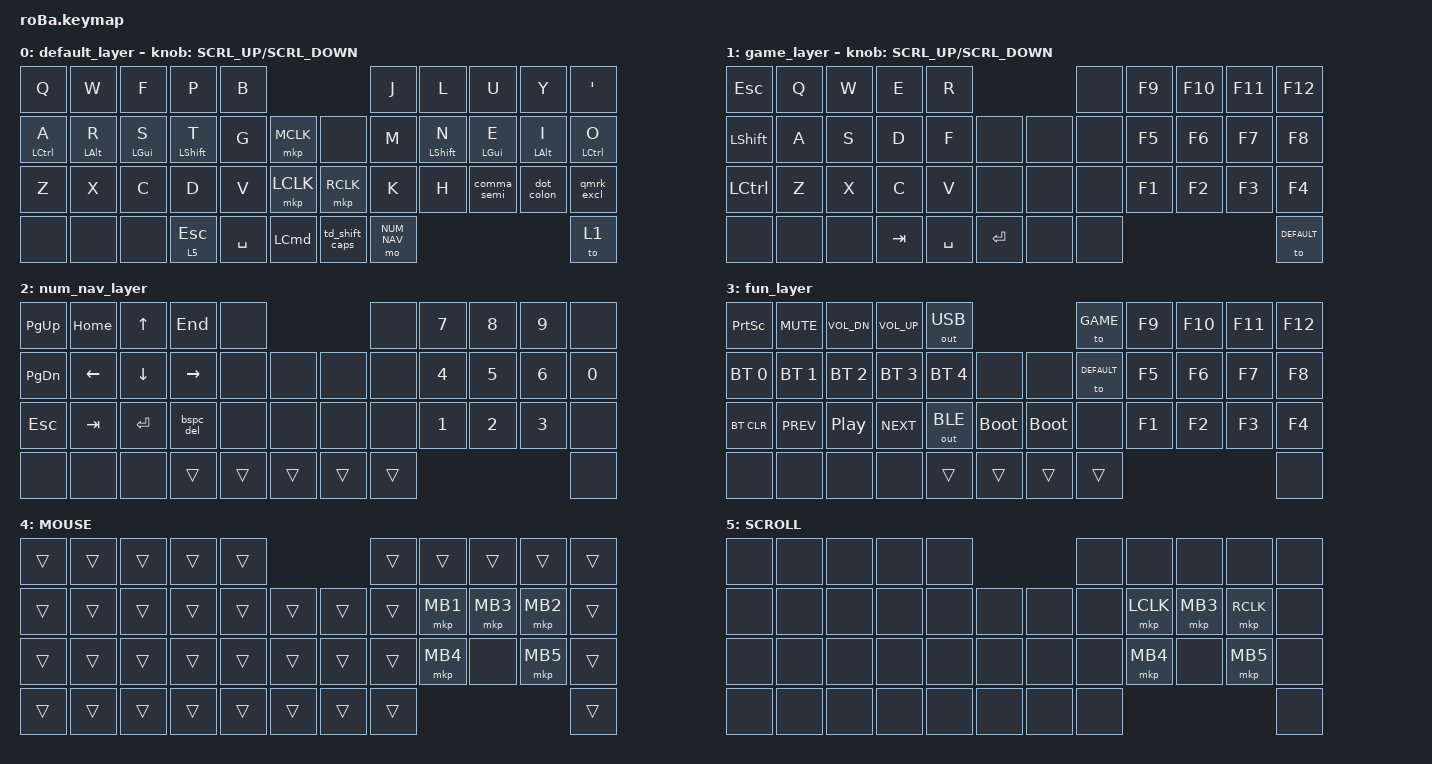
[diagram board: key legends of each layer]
#include <behaviors.dtsi>
#include <dt-bindings/zmk/bt.h>
#include <dt-bindings/zmk/keys.h>
#include <dt-bindings/zmk/outputs.h>
#include <dt-bindings/zmk/pointing.h>

#define KEYS_L 0 1 2 3 4 10 11 12 13 14 15 22 23 24 25 26 27
#define KEYS_R 5 6 7 8 9 16 17 18 19 20 21 28 29 30 31 32 33
#define THUMBS_L 34 35 36 37 38 39
#define THUMBS_R 40 41 42
#define DEFAULT 0
#define GAME 1
#define NUM_NAV 2
#define FUN 3
#define MOUSE 4
#define SCROLL 5
#define COMBO_TERM 30
#define TAPPING_TERM 280
#define QUICK_TAP_TERM 175
#define REQUIRE_PRIOR_IDLE 175

&mt {
    tapping-term-ms = <TAPPING_TERM>;
    flavor = "tap-preferred";
    quick-tap-ms = <QUICK_TAP_TERM>;
    require-prior-idle-ms = <REQUIRE_PRIOR_IDLE>;
};

&lt {
    tapping-term-ms = <TAPPING_TERM>;
    flavor = "tap-preferred";
    quick-tap-ms = <QUICK_TAP_TERM>;
};

/ {
    behaviors {
        hml: home_row_mod_left {
            compatible = "zmk,behavior-hold-tap";
            #binding-cells = <2>;
            flavor = "balanced";
            tapping-term-ms = <TAPPING_TERM>;
            quick-tap-ms = <QUICK_TAP_TERM>;
            require-prior-idle-ms = <REQUIRE_PRIOR_IDLE>;
            bindings = <&kp>, <&kp>;

            hold-trigger-key-positions = <KEYS_R THUMBS_R>;
            hold-trigger-on-release;
        };

        hmr: home_row_mod_right {
            compatible = "zmk,behavior-hold-tap";
            #binding-cells = <2>;
            flavor = "balanced";
            tapping-term-ms = <TAPPING_TERM>;
            quick-tap-ms = <QUICK_TAP_TERM>;
            require-prior-idle-ms = <REQUIRE_PRIOR_IDLE>;
            bindings = <&kp>, <&kp>;

            hold-trigger-key-positions = <KEYS_L THUMBS_L>;
            hold-trigger-on-release;
        };

        bspc_del: backspace_delete {
            compatible = "zmk,behavior-mod-morph";
            #binding-cells = <0>;
            bindings = <&kp BACKSPACE>, <&kp DELETE>;

            mods = <(MOD_LSFT|MOD_RSFT)>;
            keep-mods = <(MOD_RSFT)>;
        };

        td_shift_caps: tap_dance_shift_caps {
            compatible = "zmk,behavior-tap-dance";
            #binding-cells = <0>;
            tapping-term-ms = <200>;
            bindings = <&kp LEFT_SHIFT>, <&kp CAPSLOCK>;
        };

        lt_num_bspc_del: layer_tap_num_bspc_del {
            compatible = "zmk,behavior-hold-tap";
            #binding-cells = <2>;
            flavor = "tap-preferred";
            tapping-term-ms = <TAPPING_TERM>;
            quick-tap-ms = <QUICK_TAP_TERM>;
            bindings = <&mo>, <&bspc_del>;
        };

        rot_msc: sensor_rotate_mouse_scroll {
            compatible = "zmk,behavior-sensor-rotate-var";
            #sensor-binding-cells = <2>;
            bindings = <&msc>, <&msc>;
        };

        comma_semi: comma_semi {
            compatible = "zmk,behavior-mod-morph";
            #binding-cells = <0>;
            bindings = <&kp COMMA>, <&kp SEMI>;

            mods = <(MOD_LSFT)>;
        };

        dot_colon: dot_colon {
            compatible = "zmk,behavior-mod-morph";
            #binding-cells = <0>;
            bindings = <&kp DOT>, <&kp COLON>;

            mods = <(MOD_LSFT)>;
        };

        qmrk_excl: qmrk_excl {
            compatible = "zmk,behavior-mod-morph";
            #binding-cells = <0>;
            bindings = <&kp QMARK>, <&kp EXCL>;

            mods = <(MOD_LSFT)>;
        };

        slh_morph: slh_morph {
            compatible = "zmk,behavior-mod-morph";
            #binding-cells = <0>;
            bindings = <&kp FSLH>, <&kp BSLH>;

            mods = <(MOD_LSFT)>;
        };

        amps_morph: amps_morph {
            compatible = "zmk,behavior-mod-morph";
            #binding-cells = <0>;
            bindings = <&kp AMPS>, <&kp PIPE>;

            mods = <(MOD_LSFT)>;
        };
    };

    combos {
        compatible = "zmk,combos";

        tilde {
            bindings = <&kp TILDE>;
            key-positions = <0 10>;
            layers = <DEFAULT>;
        };

        at {
            bindings = <&kp AT_SIGN>;
            key-positions = <11 1>;
            layers = <DEFAULT>;
        };

        hash {
            bindings = <&kp HASH>;
            key-positions = <12 2>;
            layers = <DEFAULT>;
        };

        dollar {
            bindings = <&kp DOLLAR>;
            key-positions = <13 3>;
            layers = <DEFAULT>;
        };

        percent {
            bindings = <&kp PERCENT>;
            key-positions = <10 22>;
            layers = <DEFAULT>;
        };

        caret {
            bindings = <&kp CARET>;
            key-positions = <11 23>;
            layers = <DEFAULT>;
        };

        ampersand {
            bindings = <&amps_morph>;
            key-positions = <24 12>;
            layers = <DEFAULT>;
        };

        asterisk {
            bindings = <&kp ASTERISK>;
            key-positions = <13 25>;
            layers = <DEFAULT>;
        };

        lbracket {
            bindings = <&kp LEFT_BRACKET>;
            key-positions = <14 4>;
            layers = <DEFAULT>;
        };

        lparen {
            bindings = <&kp LEFT_PARENTHESIS>;
            key-positions = <26 14>;
            layers = <DEFAULT>;
        };

        rbracket {
            bindings = <&kp RIGHT_BRACKET>;
            key-positions = <17 5>;
            layers = <DEFAULT>;
        };

        rparen {
            bindings = <&kp RIGHT_PARENTHESIS>;
            key-positions = <29 17>;
            layers = <DEFAULT>;
        };

        grave {
            bindings = <&kp GRAVE>;
            key-positions = <21 33>;
            layers = <DEFAULT>;
        };

        less_than {
            bindings = <&kp LESS_THAN>;
            key-positions = <30 18>;
            layers = <DEFAULT>;
        };

        greater_than {
            bindings = <&kp GREATER_THAN>;
            key-positions = <32 20>;
            layers = <DEFAULT>;
        };

        slash_morph {
            bindings = <&slh_morph>;
            key-positions = <8 20>;
            layers = <DEFAULT>;
        };

        minus {
            bindings = <&kp MINUS>;
            key-positions = <18 6>;
            layers = <DEFAULT>;
        };

        underscore {
            bindings = <&kp UNDER>;
            key-positions = <19 7>;
            layers = <DEFAULT>;
        };

        equal {
            bindings = <&kp EQUAL>;
            key-positions = <31 19>;
            layers = <DEFAULT>;
        };

        plus {
            bindings = <&kp PLUS>;
            key-positions = <9 21>;
            layers = <DEFAULT>;
        };

        tab {
            bindings = <&kp TAB>;
            key-positions = <24 23>;
            layers = <DEFAULT>;
        };

        fun {
            bindings = <&mo 3>;
            key-positions = <41 40>;
            layers = <0 1>;
        };

        backspace {
            bindings = <&bspc_del>;
            key-positions = <32 31>;
            layers = <0>;
        };

        enter {
            bindings = <&kp ENTER>;
            key-positions = <31 30>;
            layers = <0>;
        };
    };

    keymap {
        compatible = "zmk,keymap";

        default_layer {
            bindings = <
&kp Q         &kp W        &kp F        &kp P         &kp B                                            &kp J        &kp L         &kp U        &kp Y        &kp APOS
&hml LCTRL A  &hml LALT R  &hml LGUI S  &hml LSHFT T  &kp G      &mkp MCLK             &none           &kp M        &hmr LSHFT N  &hmr LGUI E  &hmr LALT I  &hmr LCTRL O
&kp Z         &kp X        &kp C        &kp D         &kp V      &mkp LCLK             &mkp RCLK       &kp K        &kp H         &comma_semi  &dot_colon   &qmrk_excl
&none         &none        &none        &lt 5 ESCAPE  &kp SPACE  &kp LEFT_COMMAND      &td_shift_caps  &mo NUM_NAV                                          &to 1
            >;

            sensor-bindings = <&rot_msc SCRL_UP SCRL_DOWN>;
        };

        game_layer {
            bindings = <
&kp ESCAPE        &kp Q  &kp W  &kp E    &kp R                            &none  &kp F9  &kp F10  &kp F11  &kp F12
&kp LEFT_SHIFT    &kp A  &kp S  &kp D    &kp F      &none          &none  &none  &kp F5  &kp F6   &kp F7   &kp F8
&kp LEFT_CONTROL  &kp Z  &kp X  &kp C    &kp V      &none          &none  &none  &kp F1  &kp F2   &kp F3   &kp F4
&none             &none  &none  &kp TAB  &kp SPACE  &kp ENTER      &none  &none                            &to DEFAULT
            >;

            sensor-bindings = <&rot_msc SCRL_UP SCRL_DOWN>;
        };

        num_nav_layer {
            bindings = <
&kp PG_UP      &kp HOME  &kp UP_ARROW  &kp END    &none                       &none   &kp N7        &kp N8        &kp N9        &none
&kp PAGE_DOWN  &kp LEFT  &kp DOWN      &kp RIGHT  &none   &none       &none   &none   &kp NUMBER_4  &kp N5        &kp NUMBER_6  &kp N0
&kp ESCAPE     &kp TAB   &kp ENTER     &bspc_del  &none   &none       &none   &none   &kp NUMBER_1  &kp NUMBER_2  &kp NUMBER_3  &none
&none          &none     &none         &trans     &trans  &trans      &trans  &trans                                            &none
            >;
        };

        fun_layer {
            bindings = <
&kp PRINTSCREEN  &kp K_MUTE    &kp C_VOL_DN  &kp C_VOL_UP  &out OUT_USB                                &to GAME     &kp F9  &kp F10  &kp F11  &kp F12
&bt BT_SEL 0     &bt BT_SEL 1  &bt BT_SEL 2  &bt BT_SEL 3  &bt BT_SEL 4  &none            &none        &to DEFAULT  &kp F5  &kp F6   &kp F7   &kp F8
&bt BT_CLR       &kp C_PREV    &kp C_PP      &kp C_NEXT    &out OUT_BLE  &bootloader      &bootloader  &none        &kp F1  &kp F2   &kp F3   &kp F4
&none            &none         &none         &none         &trans        &trans           &trans       &trans                                 &none
            >;
        };

        MOUSE {
            bindings = <
&trans  &trans  &trans  &trans  &trans                      &trans  &trans    &trans    &trans    &trans
&trans  &trans  &trans  &trans  &trans  &trans      &trans  &trans  &mkp MB1  &mkp MB3  &mkp MB2  &trans
&trans  &trans  &trans  &trans  &trans  &trans      &trans  &trans  &mkp MB4  &none     &mkp MB5  &trans
&trans  &trans  &trans  &trans  &trans  &trans      &trans  &trans                                &trans
            >;
        };

        SCROLL {
            bindings = <
&none  &none  &none  &none  &none                    &none  &none      &none     &none      &none
&none  &none  &none  &none  &none  &none      &none  &none  &mkp LCLK  &mkp MB3  &mkp RCLK  &none
&none  &none  &none  &none  &none  &none      &none  &none  &mkp MB4   &none     &mkp MB5   &none
&none  &none  &none  &none  &none  &none      &none  &none                                  &none
            >;
        };
    };
};
